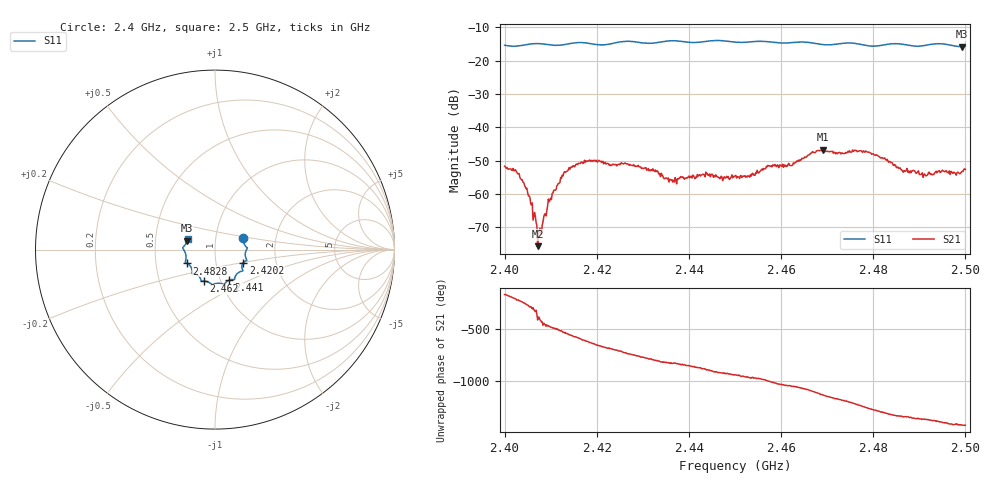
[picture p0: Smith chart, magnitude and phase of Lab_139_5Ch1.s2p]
# Hz S RI R
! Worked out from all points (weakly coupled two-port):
!   601 points, 2.4 GHz to 2.5 GHz, reference 50 ohm
!   highest |S21| = -46.74 dB at 2.4692 GHz (marker M1); lowest = -75.7 dB at 2.4072 GHz (marker M2)
!   lowest |S11| = -15.8 dB at 2.4992 GHz (marker M3), VSWR 1.39, Z = 36.4 + j3.72 ohm
!   |S11| at or under -10 dB: start of sweep to end of sweep
!   S12 and S22 are empty: the file has one direction only
!   S11 on the Smith chart (normalised r, x): 2.4 GHz: 1.36, +0.17; 2.4202 GHz: 1.36, -0.20; 2.441 GHz: 1.10, -0.39; 2.462 GHz: 0.84, -0.30; 2.4828 GHz: 0.72, -0.11; 2.5 GHz: 0.73, +0.09
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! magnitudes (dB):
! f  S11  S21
! 2.4 GHz  -15.4  -51.7
! 2.4027 GHz  -15.6  -53.5
! 2.4043 GHz  -15.3  -57.4
! 2.4072 GHz  -14.9  -75.7
! 2.4077 GHz  -14.9  -70.3
! 2.4098 GHz  -15.3  -61.9
! 2.4127 GHz  -15.2  -54.6
! 2.4167 GHz  -14.6  -50.4
! 2.4202 GHz  -15.2  -50.4
! 2.4333 GHz  -14.5  -53.5
! 2.4362 GHz  -14.0  -55.9
! 2.441 GHz  -14.6  -54.5
! 2.45 GHz  -14.4  -54.6
! 2.462 GHz  -14.6  -51.5
! 2.4667 GHz  -14.6  -47.6
! 2.4692 GHz  -15.2  -46.7
! 2.4783 GHz  -15.4  -47.1
! 2.4828 GHz  -15.1  -49.8
! 2.4833 GHz  -15.0  -50.5
! 2.4913 GHz  -15.4  -54.5
! 2.4992 GHz  -15.8  -53.4
! 2.5 GHz  -15.7  -52.6
